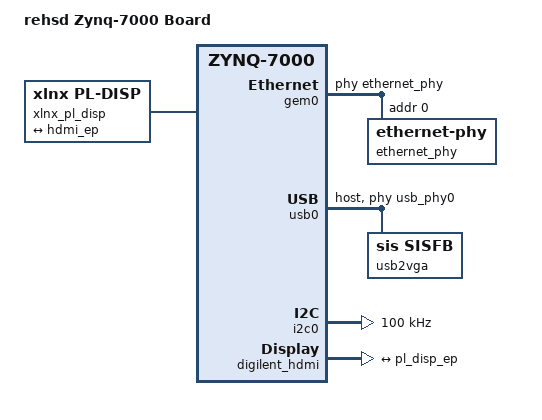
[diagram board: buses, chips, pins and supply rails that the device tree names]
/include/ "system-conf.dtsi"
#include <dt-bindings/gpio/gpio.h>
/ {
	model = "rehsd Zynq-7000 Board";
	compatible = "rehsd,zynq-7000", "xlnx,zynq-7000";
	chosen {
		bootargs = "console=ttyPS0,115200 earlyprintk root=/dev/mmcblk0p2 rw rootwait uio_pdrv_genirq.of_id=generic-uio video=HDMI-A-1:1280x720M-24@60";
	};
	
	usb_phy0: usb_phy@0 {
		compatible = "ulpi-phy";
		#phy-cells = <0>;
		reg = <0xe0002000 0x1000>;
		view-port = <0x0170>;
		reset-gpios = <&gpio0 46 1>;
		drv-vbus;
	};
};
&gem0 {
        phy-handle = <&ethernet_phy>;
        ethernet_phy: ethernet-phy@0 {
                device_type = "ethernet-phy";
                reg = <0>;
                /* dt-bindings/phy/realtek.h */
                /* #define REALTEK_LED_LINK10              BIT(0)
                   #define REALTEK_LED_LINK100             BIT(1)
                   #define REALTEK_LED_LINK1000            BIT(3)
                   #define REALTEK_LED_ACT                 BIT(4)
                   #define REALTEK_LED_DEFAULT             BIT(7)
                */
                /* LED0=10+A, LED1=100+A, LED2=1000+A */
                realtek,leds-config = <0x11 0x12 0x18>;
        };
};
&usb0 {
   	status = "okay";
   	dr_mode = "host";
   	usb-phy = <&usb_phy0>;

	
	/* HID (Human Interface Device) for mouse */
	/* mouse@1 {
	    compatible = "usb-mouse";
	    status = "okay";
	};
	*/

	usb2vga {
		compatible = "sis,sisfb";	/* sisusb (x), sisfb (x), sisusbvga, sis ? */
		vendor_id = <0x0711>;
		product_id = <0x0900>;
		status = "okay"; 
		framebuffer {
			label = "fb1"; 
			compatible = "linux,fb"; 
			linux,fb_base = <0x0>; 
		};
	};
};
&i2c0 {
    	clock-frequency = <100000>;
    	status = "okay";
};
&amba_pl {
	digilent_hdmi {
		compatible = "digilent,hdmi";
		clocks = <&axi_dynclk_0>;
		clock-names = "clk";
		digilent,edid-i2c = <&i2c0>;
		digilent,fmax = <150000>;
		digilent,hmax = <1920>;
		digilent,vmax = <1080>;
		digilent,hpref = <1280>;
		digilent,vpref = <720>;
		port@0 { 
			hdmi_ep: endpoint { 
				remote-endpoint = <&pl_disp_ep>; 
			}; 
		}; 
	};
	xlnx_pl_disp {
		compatible = "xlnx,pl-disp";
		device-id = <0xaa01>;
		dmas = <&axi_vdma_0 0>; 	
		dma-names = "dma0"; 
		xlnx,vformat = "RG24"; 	/* "RG24" -- XB24.no BG24.no AR24.no XR24.no RG24.yes */
		xlnx,bridge = <&v_tc_0>; 
		port@0 { 
			pl_disp_ep: endpoint { 
				remote-endpoint = <&hdmi_ep>; 
			}; 
		};
	};
};
&axi_vdma_0 {
	device-id = <0xaa02>;
	reg = < 0x43000000 0x10000 >;
	dma-ranges = <0x00000000 0x00000000 0x40000000>;
	xlnx,num-fstores = <0x4>;
	/*
	vdma-channel@43000000 {
		xlnx,datawidth = <0x40>;
		xlnx,device-id = <0x0>;
	} ;
	*/
};
&axi_dynclk_0 {
	compatible = "dglnt,axi-dynclk";
	#clock-cells = <0>;
	clocks = <&clkc 15>;
};
&v_tc_0 {
	compatible = "xlnx,bridge-v-tc-6.1";	/* 6.2 is the from the block design, but doesn't work here */
	xlnx,pixels-per-clock = <1>; 
};
&axi_gpio_hdmi {
	compatible = "generic-uio";	
};

